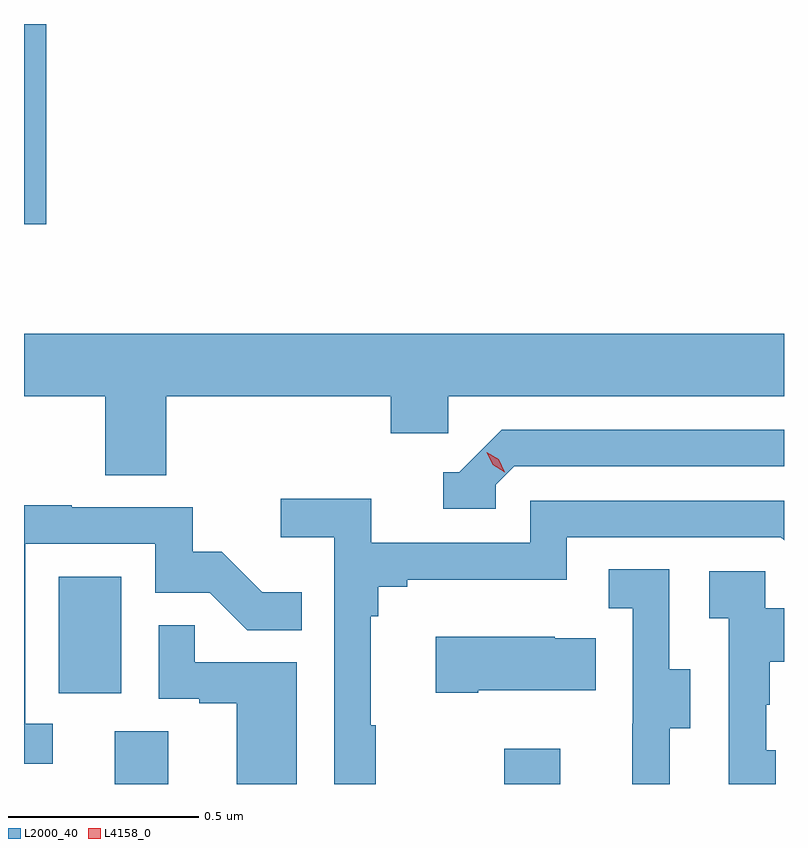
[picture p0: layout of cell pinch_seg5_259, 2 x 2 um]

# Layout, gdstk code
import gdstk
lib = gdstk.Library(unit=1e-6, precision=1e-09)
def R(c, l, rs):  # rectangles x0, y0, x1, y1
    for r in rs: c.add(gdstk.rectangle(r[:2], r[2:], *l))
def P(c, l, *ps):  # polygons
    for p in ps: c.add(gdstk.Polygon(p, *l))
L2000_40 = (2000, 40)
L4158_0 = (4158, 0)

pinch_seg5_259 = lib.new_cell('pinch_seg5_259')
R(pinch_seg5_259, L2000_40, [(947.351,913.015,947.491,913.154), (948.376,913.015,948.523,913.108), (947.204,913.254,947.368,913.561), (947.112,914.488,947.171,915.015)])
P(pinch_seg5_259, L2000_40, [(947.486,914.036),(948.077,914.036),(948.077,913.938),(948.228,913.938),(948.228,914.036),(949.112,914.036),(949.112,914.2),(947.112,914.2),(947.112,914.036),(947.326,914.036),(947.326,913.828),(947.486,913.828)],
  [(948.354,913.803),(948.402,913.851),(949.112,913.851),(949.112,913.947),(948.369,913.947),(948.258,913.836),(948.215,913.836),(948.215,913.74),(948.354,913.74)],
  [(948.037,913.169),(948.025,913.169),(948.025,913.457),(948.044,913.457),(948.044,913.534),(948.121,913.534),(948.121,913.553),(948.54,913.553),(948.54,913.665),(949.104,913.665),(949.112,913.657),(949.112,913.761),(948.444,913.761),(948.444,913.65),(948.026,913.65),(948.026,913.766),(947.787,913.766),(947.787,913.664),(947.928,913.664),(947.928,913.015),(948.037,913.015)],
  [(947.188,913.173),(947.115,913.173),(947.115,913.647),(947.457,913.647),(947.457,913.518),(947.601,913.518),(947.699,913.42),(947.843,913.42),(947.843,913.519),(947.739,913.519),(947.632,913.626),(947.556,913.626),(947.556,913.743),(947.237,913.743),(947.237,913.748),(947.112,913.748),(947.112,913.068),(947.188,913.068)],
  [(948.811,913.162),(948.865,913.162),(948.865,913.317),(948.81,913.317),(948.81,913.58),(948.651,913.58),(948.651,913.477),(948.714,913.477),(948.714,913.173),(948.713,913.173),(948.713,913.015),(948.811,913.015)],
  [(949.09,913.104),(949.065,913.104),(949.065,913.223),(949.075,913.223),(949.075,913.337),(949.112,913.337),(949.112,913.477),(949.062,913.477),(949.062,913.575),(948.915,913.575),(948.915,913.451),(948.966,913.451),(948.966,913.015),(949.09,913.015)],
  [(947.83,913.335),(947.561,913.335),(947.561,913.433),(947.466,913.433),(947.466,913.239),(947.573,913.239),(947.573,913.227),(947.672,913.227),(947.672,913.015),(947.83,913.015)],
  [(948.307,913.262),(948.617,913.262),(948.617,913.399),(948.509,913.399),(948.509,913.402),(948.195,913.402),(948.195,913.255),(948.307,913.255)])
P(pinch_seg5_259, L4158_0, [(948.377,913.836),(948.346,913.855),(948.33,913.888),(948.33,913.888),(948.33,913.888),(948.361,913.869),(948.377,913.836),(948.377,913.836)])

lib.write_gds('pinch_seg5_259.gds')
